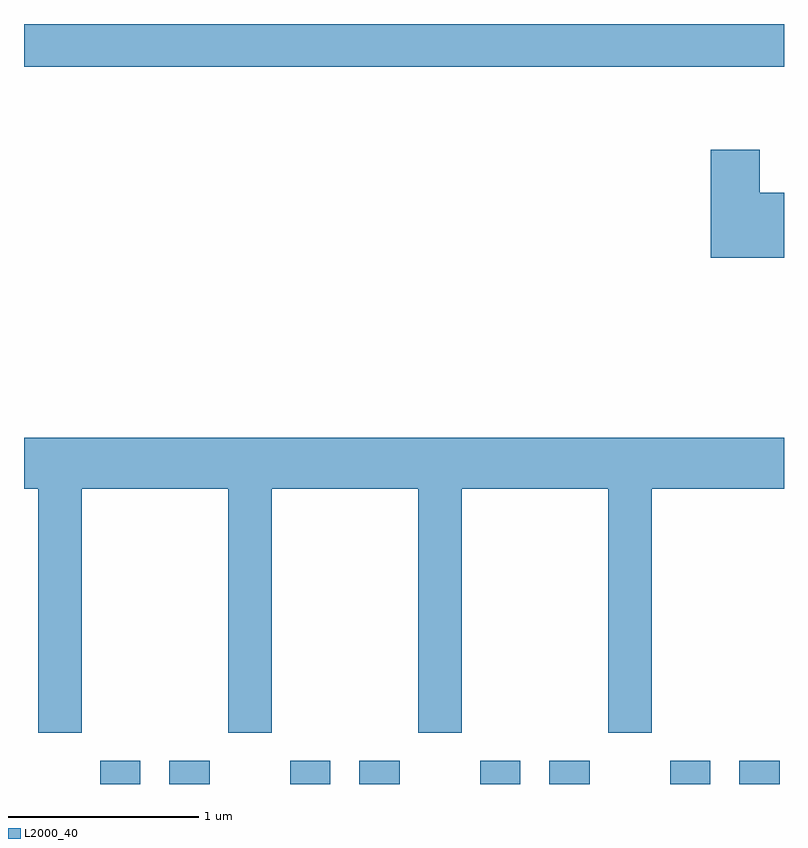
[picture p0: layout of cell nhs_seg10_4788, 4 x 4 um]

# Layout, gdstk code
import gdstk
lib = gdstk.Library(unit=1e-6, precision=1e-09)
def R(c, l, rs):  # rectangles x0, y0, x1, y1
    for r in rs: c.add(gdstk.rectangle(r[:2], r[2:], *l))
def P(c, l, *ps):  # polygons
    for p in ps: c.add(gdstk.Polygon(p, *l))
L2000_40 = (2000, 40)

nhs_seg10_4788 = lib.new_cell('nhs_seg10_4788')
R(nhs_seg10_4788, L2000_40, [(326.011,2174.522,326.224,2174.644), (326.376,2174.522,326.589,2174.644), (327.011,2174.522,327.224,2174.644), (327.376,2174.522,327.589,2174.644), (328.011,2174.522,328.224,2174.644), (328.376,2174.522,328.589,2174.644), (329.011,2174.522,329.224,2174.644), (329.376,2174.522,329.589,2174.644), (325.611,2178.296,329.611,2178.522)])
P(nhs_seg10_4788, L2000_40, [(329.611,2177.634),(329.484,2177.634),(329.484,2177.859),(329.226,2177.859),(329.226,2177.291),(329.611,2177.291)],
  [(325.914,2176.076),(326.686,2176.076),(326.686,2174.791),(326.914,2174.791),(326.914,2176.076),(327.686,2176.076),(327.686,2174.791),(327.914,2174.791),(327.914,2176.076),(328.686,2176.076),(328.686,2174.791),(328.914,2174.791),(328.914,2176.076),(329.611,2176.076),(329.611,2176.344),(325.611,2176.344),(325.611,2176.076),(325.686,2176.076),(325.686,2174.791),(325.914,2174.791)])

lib.write_gds('nhs_seg10_4788.gds')
